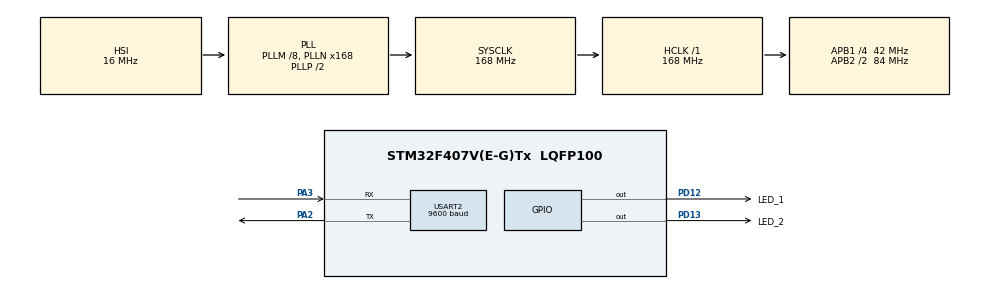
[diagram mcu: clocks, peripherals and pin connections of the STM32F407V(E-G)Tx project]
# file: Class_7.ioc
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Dma.Request0=USART2_RX
Dma.USART2_RX.0.Direction=DMA_PERIPH_TO_MEMORY
Dma.USART2_RX.0.FIFOMode=DMA_FIFOMODE_DISABLE
Dma.USART2_RX.0.Instance=DMA1_Stream5
Dma.USART2_RX.0.MemDataAlignment=DMA_MDATAALIGN_BYTE
Dma.USART2_RX.0.MemInc=DMA_MINC_ENABLE
Dma.USART2_RX.0.Mode=DMA_CIRCULAR
Dma.USART2_RX.0.PeriphDataAlignment=DMA_PDATAALIGN_BYTE
Dma.USART2_RX.0.PeriphInc=DMA_PINC_DISABLE
Dma.USART2_RX.0.Priority=DMA_PRIORITY_LOW
Mcu.Family=STM32F4
Mcu.Name=STM32F407V(E-G)Tx
Mcu.Package=LQFP100
NVIC.DMA1_Stream5_IRQn=true\:0\:0\:false\:false\:true\:false\:true
NVIC.PriorityGroup=NVIC_PRIORITYGROUP_4
PA13.Mode=Serial_Wire
PA13.Signal=SYS_JTMS-SWDIO
PA14.Mode=Serial_Wire
PA14.Signal=SYS_JTCK-SWCLK
PA2.Mode=Asynchronous
PA2.Signal=USART2_TX
PA3.Mode=Asynchronous
PA3.Signal=USART2_RX
PD12.GPIO_Label=LED_1
PD12.Signal=GPIO_Output
PD13.GPIO_Label=LED_2
PD13.Signal=GPIO_Output
PH0-OSC_IN.Mode=HSE-External-Oscillator
PH0-OSC_IN.Signal=RCC_OSC_IN
PH1-OSC_OUT.Mode=HSE-External-Oscillator
PH1-OSC_OUT.Signal=RCC_OSC_OUT
ProjectManager.HeapSize=0x200
ProjectManager.StackSize=0x400
ProjectManager.TargetToolchain=STM32CubeIDE
RCC.48MHZClocksFreq_Value=84000000
RCC.AHBFreq_Value=168000000
RCC.APB1CLKDivider=RCC_HCLK_DIV4
RCC.APB1Freq_Value=42000000
RCC.APB1TimFreq_Value=84000000
RCC.APB2CLKDivider=RCC_HCLK_DIV2
RCC.APB2Freq_Value=84000000
RCC.APB2TimFreq_Value=168000000
RCC.CortexFreq_Value=168000000
RCC.HCLKFreq_Value=168000000
RCC.HSE_VALUE=8000000
RCC.HSI_VALUE=16000000
RCC.LSE_VALUE=32768
RCC.PLLM=8
RCC.PLLN=168
RCC.SYSCLKFreq_VALUE=168000000
RCC.SYSCLKSource=RCC_SYSCLKSOURCE_PLLCLK
RCC.VCOOutputFreq_Value=336000000
USART2.BaudRate=9600
USART2.VirtualMode=VM_ASYNC
board=custom

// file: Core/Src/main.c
/* USER CODE BEGIN Header */
/**
  ******************************************************************************
  * @file           : main.c
  * @brief          : Main program body
  ******************************************************************************
  * @attention
  *
  * Copyright (c) 2023 STMicroelectronics.
  * All rights reserved.
  *
  * This software is licensed under terms that can be found in the LICENSE file
  * in the root directory of this software component.
  * If no LICENSE file comes with this software, it is provided AS-IS.
  *
  ******************************************************************************
  */
/* USER CODE END Header */
#include "main.h"

/* USER CODE BEGIN Includes */
#include "string.h"
#include "stdlib.h"
#include "ctype.h"
/* USER CODE END Includes */

UART_HandleTypeDef huart2;
DMA_HandleTypeDef hdma_usart2_rx;

void SystemClock_Config(void);
static void MX_GPIO_Init(void);
static void MX_DMA_Init(void);
static void MX_USART2_UART_Init(void);

/* USER CODE BEGIN 0 */
char rx_buffer;
char rx_data[100];
int pos=0;

void HAL_UART_RxCpltCallback(UART_HandleTypeDef *huart)
{
	if(rx_buffer !='\n' )
	{

		rx_data[pos]=rx_buffer;
		pos++;

	}
	else{
		if(strcmp(rx_data,"high")==0){

			HAL_GPIO_WritePin(LED_2_GPIO_Port, LED_2_Pin,1);
			HAL_UART_Transmit(&huart2, (uint8_t *) "Receive2: ", 10, 10);
		}
		else if(strcmp(rx_data,"low")==0){

			HAL_GPIO_WritePin(LED_2_GPIO_Port, LED_2_Pin,0);
		}
		else if(strcmp(rx_data,"led1:1")==0){

			HAL_GPIO_WritePin(LED_1_GPIO_Port, LED_1_Pin,1);
		}
		else if(strcmp(rx_data,"l10")==0){

			HAL_GPIO_WritePin(LED_1_GPIO_Port, LED_1_Pin,0);
		}
		HAL_UART_Transmit(&huart2, (uint8_t *)rx_data, sizeof(rx_data), HAL_MAX_DELAY);
	//	HAL_UART_Transmit(&huart2, (uint8_t *)rx_data, sizeof(rx_data), HAL_MAX_DELAY);
		memset(rx_data,'\0',sizeof(rx_data));
		//HAL_GPIO_TogglePin(LED_1_GPIO_Port, LED_1_Pin);
		pos = 0;

	}
	//HAL_UART_Receive_DMA(&huart2, (uint8_t *)&rx_buffer, 1);
	//HAL_UART_Transmit(&huart2, (uint8_t *)rx_data, sizeof(rx_data), HAL_MAX_DELAY);

}
/* USER CODE END 0 */

int main(void)
{

  /* MCU Configuration--------------------------------------------------------*/

  /* Reset of all peripherals, Initializes the Flash interface and the Systick. */
  HAL_Init();

  /* Configure the system clock */
  SystemClock_Config();

  /* Initialize all configured peripherals */
  MX_GPIO_Init();
  MX_DMA_Init();
  MX_USART2_UART_Init();
  /* USER CODE BEGIN 2 */

  HAL_UART_Receive_DMA(&huart2, (uint8_t *)&rx_buffer, 1);
  HAL_UART_Transmit(&huart2, (uint8_t *) "Received: ", 10, 10);
  /* USER CODE END 2 */

  /* Infinite loop */
  while (1)
  {

    /* USER CODE BEGIN 3 */
	 //HAL_UART_Transmit(&huart2, (uint8_t *)rx_data, sizeof(rx_data), HAL_MAX_DELAY);
	  //HAL_UART_Transmit(&huart2, (uint8_t *) "Receive3: ", 10, 10);

  }
  /* USER CODE END 3 */
}

void SystemClock_Config(void)
{
  RCC_OscInitTypeDef RCC_OscInitStruct = {0};
  RCC_ClkInitTypeDef RCC_ClkInitStruct = {0};

  /** Configure the main internal regulator output voltage
  */
  __HAL_RCC_PWR_CLK_ENABLE();
  __HAL_PWR_VOLTAGESCALING_CONFIG(PWR_REGULATOR_VOLTAGE_SCALE1);
  /** Initializes the RCC Oscillators according to the specified parameters
  * in the RCC_OscInitTypeDef structure.
  */
  RCC_OscInitStruct.OscillatorType = RCC_OSCILLATORTYPE_HSI;
  RCC_OscInitStruct.HSIState = RCC_HSI_ON;
  RCC_OscInitStruct.HSICalibrationValue = RCC_HSICALIBRATION_DEFAULT;
  RCC_OscInitStruct.PLL.PLLState = RCC_PLL_ON;
  RCC_OscInitStruct.PLL.PLLSource = RCC_PLLSOURCE_HSI;
  RCC_OscInitStruct.PLL.PLLM = 8;
  RCC_OscInitStruct.PLL.PLLN = 168;
  RCC_OscInitStruct.PLL.PLLP = RCC_PLLP_DIV2;
  RCC_OscInitStruct.PLL.PLLQ = 4;
  if (HAL_RCC_OscConfig(&RCC_OscInitStruct) != HAL_OK)
  {
    Error_Handler();
  }
  /** Initializes the CPU, AHB and APB buses clocks
  */
  RCC_ClkInitStruct.ClockType = RCC_CLOCKTYPE_HCLK|RCC_CLOCKTYPE_SYSCLK
                              |RCC_CLOCKTYPE_PCLK1|RCC_CLOCKTYPE_PCLK2;
  RCC_ClkInitStruct.SYSCLKSource = RCC_SYSCLKSOURCE_PLLCLK;
  RCC_ClkInitStruct.AHBCLKDivider = RCC_SYSCLK_DIV1;
  RCC_ClkInitStruct.APB1CLKDivider = RCC_HCLK_DIV4;
  RCC_ClkInitStruct.APB2CLKDivider = RCC_HCLK_DIV2;

  if (HAL_RCC_ClockConfig(&RCC_ClkInitStruct, FLASH_LATENCY_5) != HAL_OK)
  {
    Error_Handler();
  }
}

static void MX_USART2_UART_Init(void)
{

  huart2.Instance = USART2;
  huart2.Init.BaudRate = 9600;
  huart2.Init.WordLength = UART_WORDLENGTH_8B;
  huart2.Init.StopBits = UART_STOPBITS_1;
  huart2.Init.Parity = UART_PARITY_NONE;
  huart2.Init.Mode = UART_MODE_TX_RX;
  huart2.Init.HwFlowCtl = UART_HWCONTROL_NONE;
  huart2.Init.OverSampling = UART_OVERSAMPLING_16;
  if (HAL_UART_Init(&huart2) != HAL_OK)
  {
    Error_Handler();
  }

}

static void MX_DMA_Init(void)
{

  /* DMA controller clock enable */
  __HAL_RCC_DMA1_CLK_ENABLE();

  /* DMA interrupt init */
  /* DMA1_Stream5_IRQn interrupt configuration */
  HAL_NVIC_SetPriority(DMA1_Stream5_IRQn, 0, 0);
  HAL_NVIC_EnableIRQ(DMA1_Stream5_IRQn);

}

static void MX_GPIO_Init(void)
{
  GPIO_InitTypeDef GPIO_InitStruct = {0};

  /* GPIO Ports Clock Enable */
  __HAL_RCC_GPIOH_CLK_ENABLE();
  __HAL_RCC_GPIOA_CLK_ENABLE();
  __HAL_RCC_GPIOD_CLK_ENABLE();

  /*Configure GPIO pin Output Level */
  HAL_GPIO_WritePin(GPIOD, LED_1_Pin|LED_2_Pin, GPIO_PIN_RESET);

  /*Configure GPIO pins : LED_1_Pin LED_2_Pin */
  GPIO_InitStruct.Pin = LED_1_Pin|LED_2_Pin;
  GPIO_InitStruct.Mode = GPIO_MODE_OUTPUT_PP;
  GPIO_InitStruct.Pull = GPIO_NOPULL;
  GPIO_InitStruct.Speed = GPIO_SPEED_FREQ_LOW;
  HAL_GPIO_Init(GPIOD, &GPIO_InitStruct);

}

void Error_Handler(void)
{
  __disable_irq();
  while (1)
  {
  }
}
